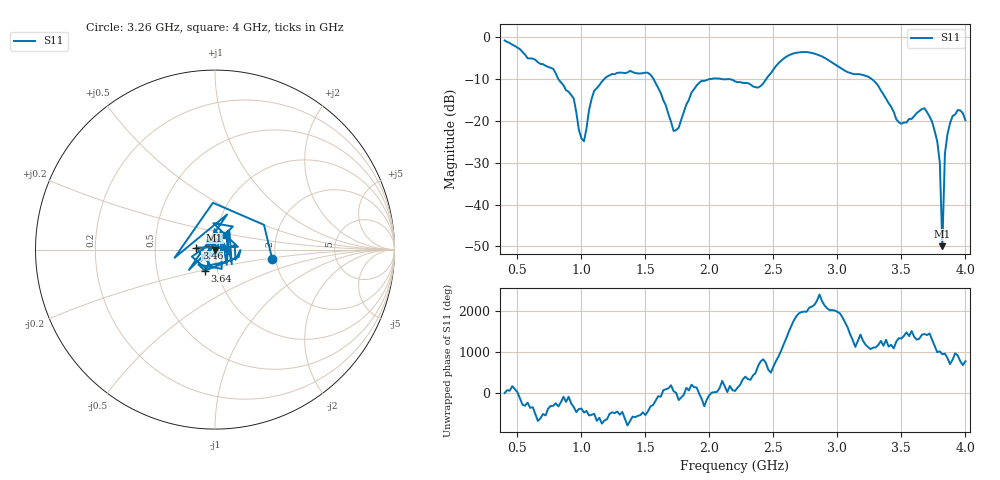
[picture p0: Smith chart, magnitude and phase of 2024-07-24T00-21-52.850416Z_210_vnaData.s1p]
!Created with skrf (http://scikit-rf.org).
# Hz S RI R 50.0
!freq ReS11 ImS11
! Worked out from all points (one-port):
!   181 points, 400 MHz to 4 GHz, reference 50 ohm
!   lowest |S11| = -49.9 dB at 3.82 GHz (marker M1), VSWR 1.01, Z = 49.8 - j0.222 ohm
!   |S11| at or under -10 dB: 819.4 MHz to 1.179 GHz (359.1 MHz wide, 35.9 % of centre); 1.564 GHz to 2.003 GHz (439.4 MHz wide, 24.6 % of centre); 3.267 GHz to end of sweep (the widest 3 of 4)
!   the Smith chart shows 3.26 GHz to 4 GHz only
!   S11 on the Smith chart (normalised r, x): 3.26 GHz: 1.92, -0.22; 3.46 GHz: 0.81, +0.02; 3.64 GHz: 0.87, -0.21; 4 GHz: 1.11, +0.18
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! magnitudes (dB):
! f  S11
! 400 MHz  -0.8
! 780 MHz  -7.6
! 860 MHz  -11.5
! 940 MHz  -14.6
! 980 MHz  -22.1
! 1.02 GHz  -24.9
! 1.1 GHz  -12.8
! 1.3 GHz  -8.5
! 1.54 GHz  -9.0
! 1.72 GHz  -22.4
! 1.76 GHz  -21.6
! 1.92 GHz  -10.9
! 2.2 GHz  -10.5
! 2.38 GHz  -12.1
! 2.66 GHz  -3.9
! 3.1 GHz  -8.5
! 3.26 GHz  -9.8
! 3.46 GHz  -19.6
! 3.56 GHz  -19.5
! 3.64 GHz  -17.7
! 3.7 GHz  -17.9
! 3.78 GHz  -24.9
! 3.8 GHz  -29.9
! 3.82 GHz  -49.9
! 3.84 GHz  -27.8
! 3.86 GHz  -23.2
! 3.94 GHz  -17.4
! 4 GHz  -19.8
